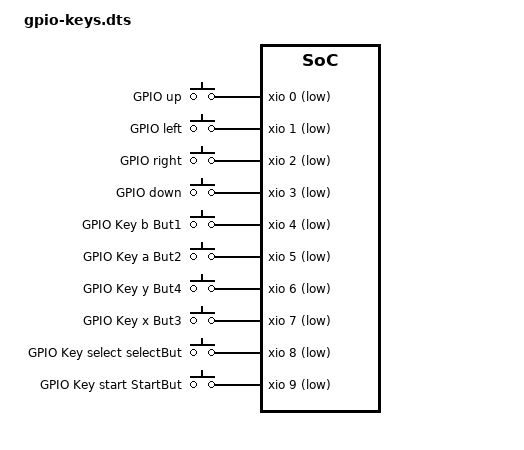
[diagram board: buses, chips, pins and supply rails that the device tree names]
/dts-v1/;
/plugin/;

/ {
    compatible = "nextthing,crumb", "nextthing,gr8";

    fragment@0 {
        target-path = "/";
        __overlay__ {
            groboy-buttons {
                compatible = "gpio-keys";
                autorepeat;
                #address-cells = <1>;
                #size-cells = <0>;

                // define buttons
                button@00 {
                    label = "GPIO up";
                    linux,code = <103>;
                    gpios = <&xio 0 1>;
                };
                button@01 {
                    label = "GPIO left";
                    linux,code = <105>;
                    gpios = <&xio 1 1>; // pin 0.1, active_low
                };
                button@02 {
                    label = "GPIO right";
                    linux,code = <106>;
                    gpios = <&xio 2 1>; // pin 0.2, active_low
                };
                button@03 {
                    label = "GPIO down";
                    linux,code = <108>;
                    gpios = <&xio 3 1>; // pin 0.3, active_low
                };
                button@04 {
                    label = "GPIO Key b But1";
                    linux,code = <44>;
					gpios = <&xio 4 1>; // pin 0.4, active_low
				};
				button@05 {
					label = "GPIO Key a But2";
                    linux,code = <30>;
					gpios = <&xio 5 1>; // pin 0.5, active_low
				};
				button@06 {
					label = "GPIO Key y But4";
                    linux,code = <45>;
					gpios = <&xio 6 1>; // pin 0.6, active_low
				};
				button@07 {
					label = "GPIO Key x But3";
                    linux,code = <31>;
					gpios = <&xio 7 1>; // pin 0.7, active_low
				};
				button@10 {
                    label = "GPIO Key select selectBut";
                    linux,code = <28>;
                    gpios = <&xio 8 1>; // pin 1.0, active_low
				};
				button@11 {
					label = "GPIO Key start StartBut";
                    linux,code = <54>;
					gpios = <&xio 9 1>; // pin 1.1, active_low
				};
            };
        };
    };
};
